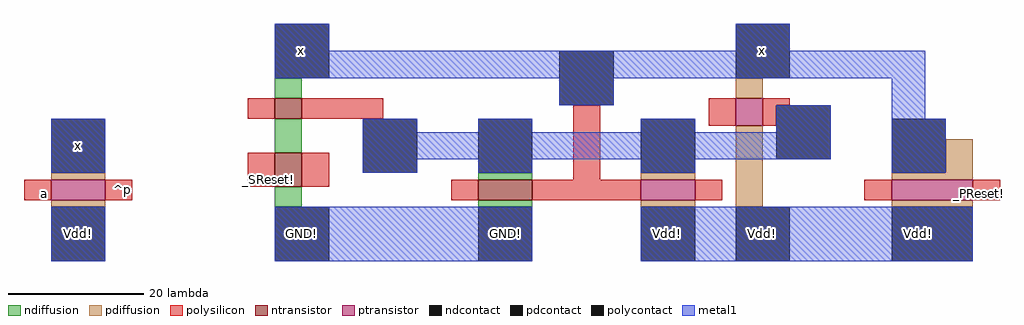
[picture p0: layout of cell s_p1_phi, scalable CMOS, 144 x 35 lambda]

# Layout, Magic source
magic
tech scmos
<< ndiffusion >>
rect -126 49 -122 52
rect -126 41 -122 46
rect -96 37 -88 38
rect -126 33 -122 36
rect -96 33 -88 34
<< pdiffusion >>
rect -58 49 -54 52
rect -159 37 -151 38
rect -72 37 -64 38
rect -159 33 -151 34
rect -72 33 -64 34
rect -58 33 -54 45
rect -27 38 -23 43
rect -35 37 -23 38
rect -35 33 -23 34
<< ntransistor >>
rect -126 46 -122 49
rect -126 36 -122 41
rect -96 34 -88 37
<< ptransistor >>
rect -159 34 -151 37
rect -58 45 -54 49
rect -72 34 -64 37
rect -35 34 -23 37
<< polysilicon >>
rect -130 46 -126 49
rect -122 46 -110 49
rect -163 34 -159 37
rect -151 34 -147 37
rect -130 36 -126 41
rect -122 36 -118 41
rect -82 37 -78 48
rect -62 45 -58 49
rect -54 48 -50 49
rect -54 45 -52 48
rect -100 34 -96 37
rect -88 34 -72 37
rect -64 34 -60 37
rect -39 34 -35 37
rect -23 34 -19 37
<< ndcontact >>
rect -126 52 -118 60
rect -96 38 -88 46
rect -126 25 -118 33
rect -96 25 -88 33
<< pdcontact >>
rect -58 52 -50 60
rect -159 38 -151 46
rect -72 38 -64 46
rect -159 25 -151 33
rect -72 25 -64 33
rect -35 38 -27 46
rect -58 25 -50 33
rect -35 25 -23 33
<< polycontact >>
rect -84 48 -76 56
rect -113 38 -105 46
rect -52 40 -44 48
<< metal1 >>
rect -126 56 -118 60
rect -58 56 -50 60
rect -126 52 -30 56
rect -84 48 -76 52
rect -159 38 -151 46
rect -113 44 -105 46
rect -96 44 -88 46
rect -72 44 -64 46
rect -52 44 -44 48
rect -113 40 -44 44
rect -35 46 -30 52
rect -113 38 -105 40
rect -96 38 -88 40
rect -72 38 -64 40
rect -35 38 -27 46
rect -159 25 -151 33
rect -126 25 -88 33
rect -72 25 -23 33
<< labels >>
rlabel polysilicon -160 35 -160 35 3 a
rlabel metal1 -155 29 -155 29 1 Vdd!
rlabel metal1 -155 42 -155 42 1 x
rlabel space -151 25 -146 46 3 ^p
rlabel ndcontact -92 29 -92 29 1 GND!
rlabel pdcontact -68 29 -68 29 1 Vdd!
rlabel polysilicon -127 37 -127 37 1 _SReset!
rlabel metal1 -122 56 -122 56 1 x
rlabel metal1 -54 29 -54 29 1 Vdd!
rlabel metal1 -54 56 -54 56 1 x
rlabel metal1 -31 29 -31 29 8 Vdd!
rlabel polysilicon -22 35 -22 35 7 _PReset!
rlabel metal1 -122 29 -122 29 1 GND!
<< end >>
